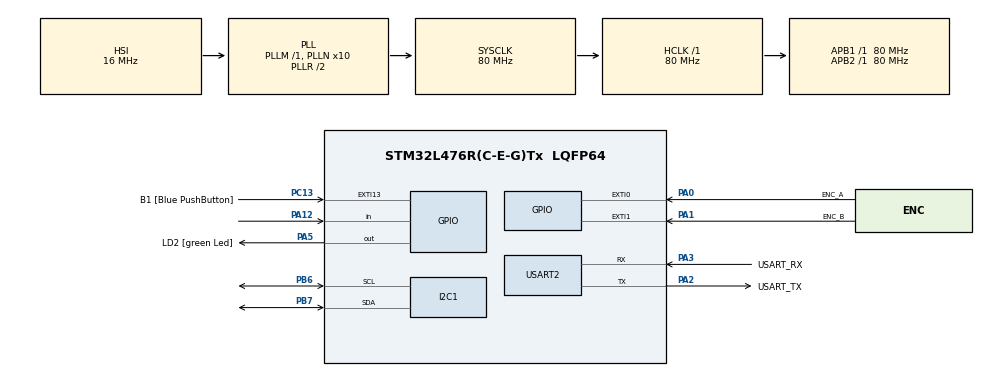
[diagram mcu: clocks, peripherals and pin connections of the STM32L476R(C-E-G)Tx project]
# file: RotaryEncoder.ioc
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I2C1.Timing=0x10D19CE4
Mcu.Family=STM32L4
Mcu.Name=STM32L476R(C-E-G)Tx
Mcu.Package=LQFP64
NVIC.EXTI0_IRQn=true\:0\:0\:false\:false\:true\:true\:true\:true
NVIC.EXTI1_IRQn=true\:0\:0\:false\:false\:true\:true\:true\:true
NVIC.PriorityGroup=NVIC_PRIORITYGROUP_4
PA0.GPIO_Label=ENC_A
PA0.GPIO_ModeDefaultEXTI=GPIO_MODE_IT_RISING_FALLING
PA0.GPIO_PuPd=GPIO_NOPULL
PA0.Signal=GPXTI0
PA1.GPIO_Label=ENC_B
PA1.GPIO_ModeDefaultEXTI=GPIO_MODE_IT_RISING_FALLING
PA1.Signal=GPXTI1
PA12.Signal=GPIO_Input
PA13\ (JTMS-SWDIO).GPIO_Label=TMS
PA13\ (JTMS-SWDIO).Mode=Serial_Wire
PA13\ (JTMS-SWDIO).Signal=SYS_JTMS-SWDIO
PA14\ (JTCK-SWCLK).GPIO_Label=TCK
PA14\ (JTCK-SWCLK).Mode=Serial_Wire
PA14\ (JTCK-SWCLK).Signal=SYS_JTCK-SWCLK
PA2.GPIO_Label=USART_TX
PA2.GPIO_Mode=GPIO_MODE_AF_PP
PA2.GPIO_PuPd=GPIO_NOPULL
PA2.GPIO_Speed=GPIO_SPEED_FREQ_VERY_HIGH
PA2.Mode=Asynchronous
PA2.Signal=USART2_TX
PA3.GPIO_Label=USART_RX
PA3.GPIO_Mode=GPIO_MODE_AF_PP
PA3.GPIO_PuPd=GPIO_NOPULL
PA3.GPIO_Speed=GPIO_SPEED_FREQ_VERY_HIGH
PA3.Mode=Asynchronous
PA3.Signal=USART2_RX
PA5.GPIO_Label=LD2 [green Led]
PA5.GPIO_ModeDefaultOutputPP=GPIO_MODE_OUTPUT_PP
PA5.GPIO_PuPd=GPIO_NOPULL
PA5.GPIO_Speed=GPIO_SPEED_FREQ_LOW
PA5.Signal=GPIO_Output
PB3\ (JTDO-TRACESWO).GPIO_Label=SWO
PB3\ (JTDO-TRACESWO).Signal=SYS_JTDO-SWO
PB6.Mode=I2C
PB6.Signal=I2C1_SCL
PB7.Mode=I2C
PB7.Signal=I2C1_SDA
PC13.GPIO_Label=B1 [Blue PushButton]
PC13.GPIO_ModeDefaultEXTI=GPIO_MODE_IT_FALLING
PC13.GPIO_PuPd=GPIO_NOPULL
PC13.Signal=GPXTI13
PC14-OSC32_IN\ (PC14).Mode=LSE-External-Oscillator
PC14-OSC32_IN\ (PC14).Signal=RCC_OSC32_IN
PC15-OSC32_OUT\ (PC15).Mode=LSE-External-Oscillator
PC15-OSC32_OUT\ (PC15).Signal=RCC_OSC32_OUT
PH0-OSC_IN\ (PH0).Signal=RCC_OSC_IN
PH1-OSC_OUT\ (PH1).Signal=RCC_OSC_OUT
ProjectManager.HeapSize=0x200
ProjectManager.StackSize=0x400
ProjectManager.TargetToolchain=STM32CubeIDE
RCC.ADCFreq_Value=64000000
RCC.AHBFreq_Value=80000000
RCC.APB1Freq_Value=80000000
RCC.APB1TimFreq_Value=80000000
RCC.APB2Freq_Value=80000000
RCC.APB2TimFreq_Value=80000000
RCC.CortexFreq_Value=80000000
RCC.HCLKFreq_Value=80000000
RCC.HSE_VALUE=8000000
RCC.HSI_VALUE=16000000
RCC.MSI_VALUE=4000000
RCC.PLLN=10
RCC.PLLSourceVirtual=RCC_PLLSOURCE_HSI
RCC.PREFETCH_ENABLE=1
RCC.SYSCLKFreq_VALUE=80000000
RCC.SYSCLKSource=RCC_SYSCLKSOURCE_PLLCLK
RCC.USBFreq_Value=64000000
RCC.VCOOutputFreq_Value=160000000
USART2.VirtualMode-Asynchronous=VM_ASYNC
board=NUCLEO-L476RG

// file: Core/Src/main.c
/* USER CODE BEGIN Header */
/**
  ******************************************************************************
  * @file           : main.c
  * @brief          : I2C Bus Scanner
  ******************************************************************************
  */
/* USER CODE END Header */

#include "main.h"

/* USER CODE BEGIN Includes */

#include <stdio.h>

/* USER CODE END Includes */

I2C_HandleTypeDef hi2c1;

UART_HandleTypeDef huart2;

void SystemClock_Config(void);

static void MX_GPIO_Init(void);
static void MX_USART2_UART_Init(void);
static void MX_I2C1_Init(void);

/* USER CODE BEGIN PFP */

void I2C_Scan(void);

/* USER CODE END PFP */

/* USER CODE BEGIN 0 */

/* ============================================================
 * PRINTF -> USART2
 * ============================================================ */

int __io_putchar(int ch)
{
    HAL_UART_Transmit(&huart2,
                      (uint8_t *)&ch,
                      1,
                      HAL_MAX_DELAY);

    return ch;
}

/* ============================================================
 * I2C BUS SCANNER
 * ============================================================ */

void I2C_Scan(void)
{
    HAL_StatusTypeDef result;

    uint8_t devices_found = 0;

    printf("\r\n");
    printf("========================================\r\n");
    printf("            I2C BUS SCANNER\r\n");
    printf("========================================\r\n");

    printf("Scanning addresses 0x08 - 0x77...\r\n");
    printf("\r\n");

    /*
     * Scan the normal 7-bit I2C address range.
     *
     * HAL_I2C_IsDeviceReady() expects the 7-bit
     * address shifted left by one bit.
     */

    for (uint8_t address = 0x08;
         address <= 0x77;
         address++)
    {
        result = HAL_I2C_IsDeviceReady(
                    &hi2c1,
                    (uint16_t)(address << 1),
                    3,
                    20);

        if (result == HAL_OK)
        {
            printf(">>> DEVICE FOUND AT 0x%02X <<<\r\n",
                   address);

            devices_found++;
        }
    }

    printf("\r\n");
    printf("----------------------------------------\r\n");

    if (devices_found == 0)
    {
        printf("NO I2C DEVICES FOUND\r\n");
    }

    else
    {
        printf("SCAN COMPLETE\r\n");

        printf("%u DEVICE(S) FOUND\r\n",
               devices_found);
    }

    printf("----------------------------------------\r\n");
}

/* USER CODE END 0 */

int main(void)
{

    /* MCU Configuration--------------------------------------------------------*/

    /*
     * Reset of all peripherals,
     * Initializes Flash interface and SysTick.
     */

    HAL_Init();

    /* Configure the system clock */

    SystemClock_Config();

    /* Initialize all configured peripherals */

    MX_GPIO_Init();

    MX_USART2_UART_Init();

    MX_I2C1_Init();

    /* USER CODE BEGIN 2 */

    /*
     * Allow power rails and peripherals
     * to settle before scanning.
     */

    HAL_Delay(500);

    printf("\r\n");
    printf("========================================\r\n");
    printf("              PCB I2C TEST\r\n");
    printf("========================================\r\n");

    /*
     * Run the I2C scanner once.
     */

    I2C_Scan();

    printf("\r\n");
    printf("I2C scan finished.\r\n");
    printf("Press RESET to scan again.\r\n");

    /* USER CODE END 2 */

    /* Infinite loop */

    /* USER CODE BEGIN WHILE */

    while (1)
    {
        HAL_StatusTypeDef result;

        result = HAL_I2C_IsDeviceReady(&hi2c1,
                                       (0x5A << 1),
                                       1,
                                       100);

        if (result == HAL_OK)
        {
            printf("0x5A ACK\r\n");
        }
        else
        {
            printf("0x5A NO ACK\r\n");
        }

        HAL_Delay(100);
    }

    /* USER CODE END WHILE */

}

void SystemClock_Config(void)
{
    RCC_OscInitTypeDef RCC_OscInitStruct = {0};

    RCC_ClkInitTypeDef RCC_ClkInitStruct = {0};

    /**
     * Configure the main internal regulator output voltage
     */

    if (HAL_PWREx_ControlVoltageScaling(
            PWR_REGULATOR_VOLTAGE_SCALE1) != HAL_OK)
    {
        Error_Handler();
    }

    /**
     * Initializes the RCC Oscillators
     */

    RCC_OscInitStruct.OscillatorType =
        RCC_OSCILLATORTYPE_HSI;

    RCC_OscInitStruct.HSIState =
        RCC_HSI_ON;

    RCC_OscInitStruct.HSICalibrationValue =
        RCC_HSICALIBRATION_DEFAULT;

    RCC_OscInitStruct.PLL.PLLState =
        RCC_PLL_ON;

    RCC_OscInitStruct.PLL.PLLSource =
        RCC_PLLSOURCE_HSI;

    RCC_OscInitStruct.PLL.PLLM =
        1;

    RCC_OscInitStruct.PLL.PLLN =
        10;

    RCC_OscInitStruct.PLL.PLLP =
        RCC_PLLP_DIV7;

    RCC_OscInitStruct.PLL.PLLQ =
        RCC_PLLQ_DIV2;

    RCC_OscInitStruct.PLL.PLLR =
        RCC_PLLR_DIV2;

    if (HAL_RCC_OscConfig(
            &RCC_OscInitStruct) != HAL_OK)
    {
        Error_Handler();
    }

    /**
     * Initializes CPU, AHB and APB clocks
     */

    RCC_ClkInitStruct.ClockType =
        RCC_CLOCKTYPE_HCLK |
        RCC_CLOCKTYPE_SYSCLK |
        RCC_CLOCKTYPE_PCLK1 |
        RCC_CLOCKTYPE_PCLK2;

    RCC_ClkInitStruct.SYSCLKSource =
        RCC_SYSCLKSOURCE_PLLCLK;

    RCC_ClkInitStruct.AHBCLKDivider =
        RCC_SYSCLK_DIV1;

    RCC_ClkInitStruct.APB1CLKDivider =
        RCC_HCLK_DIV1;

    RCC_ClkInitStruct.APB2CLKDivider =
        RCC_HCLK_DIV1;

    if (HAL_RCC_ClockConfig(
            &RCC_ClkInitStruct,
            FLASH_LATENCY_4) != HAL_OK)
    {
        Error_Handler();
    }
}

static void MX_I2C1_Init(void)
{

    hi2c1.Instance =
        I2C1;

    hi2c1.Init.Timing =
        0x10D19CE4;

    hi2c1.Init.OwnAddress1 =
        0;

    hi2c1.Init.AddressingMode =
        I2C_ADDRESSINGMODE_7BIT;

    hi2c1.Init.DualAddressMode =
        I2C_DUALADDRESS_DISABLE;

    hi2c1.Init.OwnAddress2 =
        0;

    hi2c1.Init.OwnAddress2Masks =
        I2C_OA2_NOMASK;

    hi2c1.Init.GeneralCallMode =
        I2C_GENERALCALL_DISABLE;

    hi2c1.Init.NoStretchMode =
        I2C_NOSTRETCH_DISABLE;

    if (HAL_I2C_Init(&hi2c1) != HAL_OK)
    {
        Error_Handler();
    }

    /**
     * Configure Analogue filter
     */

    if (HAL_I2CEx_ConfigAnalogFilter(
            &hi2c1,
            I2C_ANALOGFILTER_ENABLE) != HAL_OK)
    {
        Error_Handler();
    }

    /**
     * Configure Digital filter
     */

    if (HAL_I2CEx_ConfigDigitalFilter(
            &hi2c1,
            0) != HAL_OK)
    {
        Error_Handler();
    }

}

static void MX_USART2_UART_Init(void)
{

    huart2.Instance =
        USART2;

    huart2.Init.BaudRate =
        115200;

    huart2.Init.WordLength =
        UART_WORDLENGTH_8B;

    huart2.Init.StopBits =
        UART_STOPBITS_1;

    huart2.Init.Parity =
        UART_PARITY_NONE;

    huart2.Init.Mode =
        UART_MODE_TX_RX;

    huart2.Init.HwFlowCtl =
        UART_HWCONTROL_NONE;

    huart2.Init.OverSampling =
        UART_OVERSAMPLING_16;

    huart2.Init.OneBitSampling =
        UART_ONE_BIT_SAMPLE_DISABLE;

    huart2.AdvancedInit.AdvFeatureInit =
        UART_ADVFEATURE_NO_INIT;

    if (HAL_UART_Init(&huart2) != HAL_OK)
    {
        Error_Handler();
    }

}

static void MX_GPIO_Init(void)
{
    GPIO_InitTypeDef GPIO_InitStruct = {0};

    /* GPIO Ports Clock Enable */

    __HAL_RCC_GPIOC_CLK_ENABLE();

    __HAL_RCC_GPIOH_CLK_ENABLE();

    __HAL_RCC_GPIOA_CLK_ENABLE();

    __HAL_RCC_GPIOB_CLK_ENABLE();

    /* Configure GPIO pin Output Level */

    HAL_GPIO_WritePin(
        LD2_GPIO_Port,
        LD2_Pin,
        GPIO_PIN_RESET);

    /* Configure GPIO pin : B1_Pin */

    GPIO_InitStruct.Pin =
        B1_Pin;

    GPIO_InitStruct.Mode =
        GPIO_MODE_IT_FALLING;

    GPIO_InitStruct.Pull =
        GPIO_NOPULL;

    HAL_GPIO_Init(
        B1_GPIO_Port,
        &GPIO_InitStruct);

    /*
     * Configure encoder pins.
     *
     * These remain as generated by CubeMX,
     * although they are not used by this test.
     */

    GPIO_InitStruct.Pin =
        ENC_A_Pin |
        ENC_B_Pin;

    GPIO_InitStruct.Mode =
        GPIO_MODE_IT_RISING_FALLING;

    GPIO_InitStruct.Pull =
        GPIO_NOPULL;

    HAL_GPIO_Init(
        GPIOA,
        &GPIO_InitStruct);

    /* Configure LD2 */

    GPIO_InitStruct.Pin =
        LD2_Pin;

    GPIO_InitStruct.Mode =
        GPIO_MODE_OUTPUT_PP;

    GPIO_InitStruct.Pull =
        GPIO_NOPULL;

    GPIO_InitStruct.Speed =
        GPIO_SPEED_FREQ_LOW;

    HAL_GPIO_Init(
        LD2_GPIO_Port,
        &GPIO_InitStruct);

    /* Configure PA12 */

    GPIO_InitStruct.Pin =
        GPIO_PIN_12;

    GPIO_InitStruct.Mode =
        GPIO_MODE_INPUT;

    GPIO_InitStruct.Pull =
        GPIO_NOPULL;

    HAL_GPIO_Init(
        GPIOA,
        &GPIO_InitStruct);

    /* EXTI interrupt init */

    HAL_NVIC_SetPriority(
        EXTI0_IRQn,
        0,
        0);

    HAL_NVIC_EnableIRQ(
        EXTI0_IRQn);

    HAL_NVIC_SetPriority(
        EXTI1_IRQn,
        0,
        0);

    HAL_NVIC_EnableIRQ(
        EXTI1_IRQn);

}

void Error_Handler(void)
{

    __disable_irq();
    while (1)
    {
    }
}
